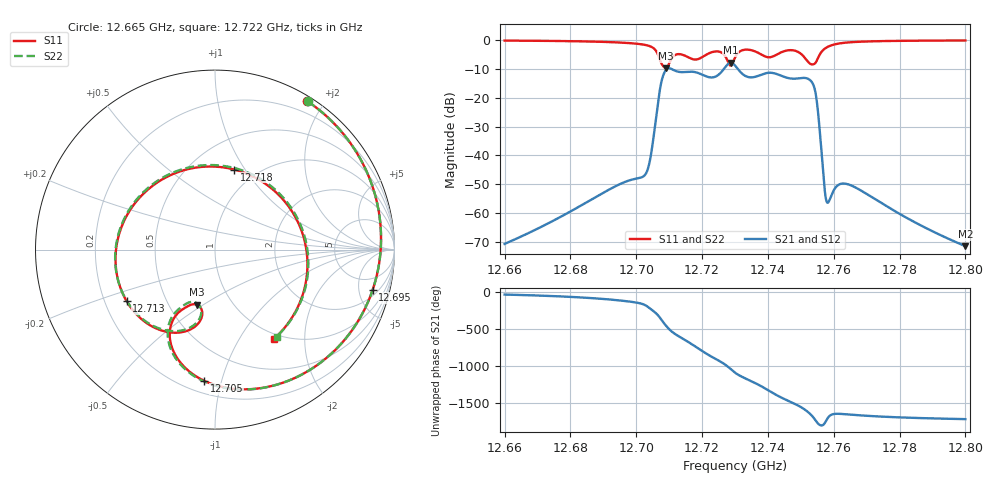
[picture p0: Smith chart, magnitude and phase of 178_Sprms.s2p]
! TOUCHSTONE file generated by CST MICROWAVE STUDIO
! Date and time: Wed Jul 31 19:53:00 2024
! Project name: WaveGuide_BPF-Ver4.1_U-shape_Ku_T3_C4_CWA_2.cst
! Parameters = {cavity_h=16; cavity_l0=10; cavity_l1=15.2096; cavity_l2=16.8303; cavity_l3=17.0972; cavity_l4=17.2534; cavity_l5=17.1672; cavity_l6=17.5741; cavity_r=2.5; cavity_screw_l=0.5; cavity_screw_r=1.5; cavity_w=8; iris_h00=0; iris_h01=8.8358; iris_h112=0; iris_h12=5.6093; iris_h211=3.655; i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
! Header version: 2018
! Port assignment regex: !\s*Touchstone port\s*([0-9]+)\s*=\s*(CST MWS port|CST DS port)\s*([0-9]+|Zmin|Zmax)\s*\(\"(.*)\"\)(\s*mode\s*([0-9]+))?.*
! Touchstone port assignment:
! Touchstone port 1 = CST MWS port 1 ("")
! Touchstone port 2 = CST MWS port 2 ("")
# GHz S RI R 50
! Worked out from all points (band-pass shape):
!   5001 points, 12.66 GHz to 12.8 GHz, reference 50 ohm
!   highest |S21| = -7.81 dB at 12.729 GHz (marker M1); lowest = -71.4 dB at 12.8 GHz (marker M2)
!   |S21| within 3 dB of the highest: 12.70876 GHz to 12.71218 GHz (3.421 MHz wide, 0.0269 % of centre); 12.72607 GHz to 12.73142 GHz (5.356 MHz wide, 0.0421 % of centre)
!   lowest |S11| = -9.8 dB at 12.709 GHz (marker M3), VSWR 1.95, Z = 34.2 - j23.4 ohm
!   |S11| at or under -10 dB: nowhere
!   |S22| runs from -10.1 to -0.2 dB; largest |S21 - S12| = 1.4e-09
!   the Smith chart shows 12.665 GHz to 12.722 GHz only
!   S11 on the Smith chart (normalised r, x): 12.665 GHz: 0.06, +1.80; 12.695 GHz: 2.75, -6.90; 12.705 GHz: 0.28, -0.88; 12.713 GHz: 0.29, -0.25; 12.718 GHz: 0.79, +0.89; 12.722 GHz: 0.92, -1.42
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12.66  0.4339 0.8758  0.000252 -0.000148  0.000252 -0.000148  0.4361 0.8748
12.66479  0.5143 0.8272  0.000313 -0.000229  0.000313 -0.000229  0.5162 0.8261
12.68335  0.8586 0.4028  0.000463 -0.00129  0.000463 -0.00129  0.8594 0.4013
12.69464  0.8786 -0.2238  -0.00102 -0.00294  -0.00102 -0.00294  0.8775 -0.2269
12.70259  0.3278 -0.7569  -0.00451 -0.000608  -0.00451 -0.000608  0.3203 -0.7593
12.70508  -0.0589 -0.7317  -0.00563 0.0166  -0.00563 0.0166  -0.068 -0.7313
12.70668  -0.2521 -0.485  0.0636 0.061  0.0636 0.061  -0.2631 -0.485
12.70903  -0.1019 -0.3066  -0.0212 -0.3023  -0.0212 -0.3023  -0.111 -0.2936
12.71286  -0.4927 -0.2866  -0.1506 0.2376  -0.1506 0.2376  -0.4996 -0.2718
12.71776  0.1065 0.4462  0.2723 -0.0588  0.2723 -0.0588  0.1072 0.4548
12.7223  0.3281 -0.4971  -0.1765 -0.1407  -0.1765 -0.1407  0.3427 -0.485
12.72871  -0.2917 -0.2133  0.3376 0.2274  0.3376 0.2274  -0.2889 -0.213
12.73  -0.3818 -0.3202  0.3519 -0.0835  0.3519 -0.0835  -0.38 -0.3188
12.73333  -0.6706 0.1201  -0.0244 -0.2345  -0.0244 -0.2345  -0.6674 0.1275
12.7368  -0.1748 0.584  -0.2331 -0.0407  -0.2331 -0.0407  -0.1641 0.5879
12.74089  0.5022 -0.0576  0.021 0.27  0.021 0.27  0.5091 -0.0535
12.74453  -0.1015 -0.6206  0.2344 -0.0104  0.2344 -0.0104  -0.0827 -0.6247
12.74876  -0.6369 -0.0217  -0.00429 -0.2148  -0.00429 -0.2148  -0.635 -0.0396
12.75335  0.3167 0.2065  -0.0966 0.1595  -0.0966 0.1595  0.3151 0.1956
12.75803  0.0905 -0.7489  0.000309 0.00149  0.000309 0.00149  0.0788 -0.7522
12.77668  -0.9495 -0.1538  -0.000302 0.00122  -0.000302 0.00122  -0.9505 -0.1484
12.8  -0.9293 0.3193  7.29e-05 0.000258  7.29e-05 0.000258  -0.9277 0.3242
